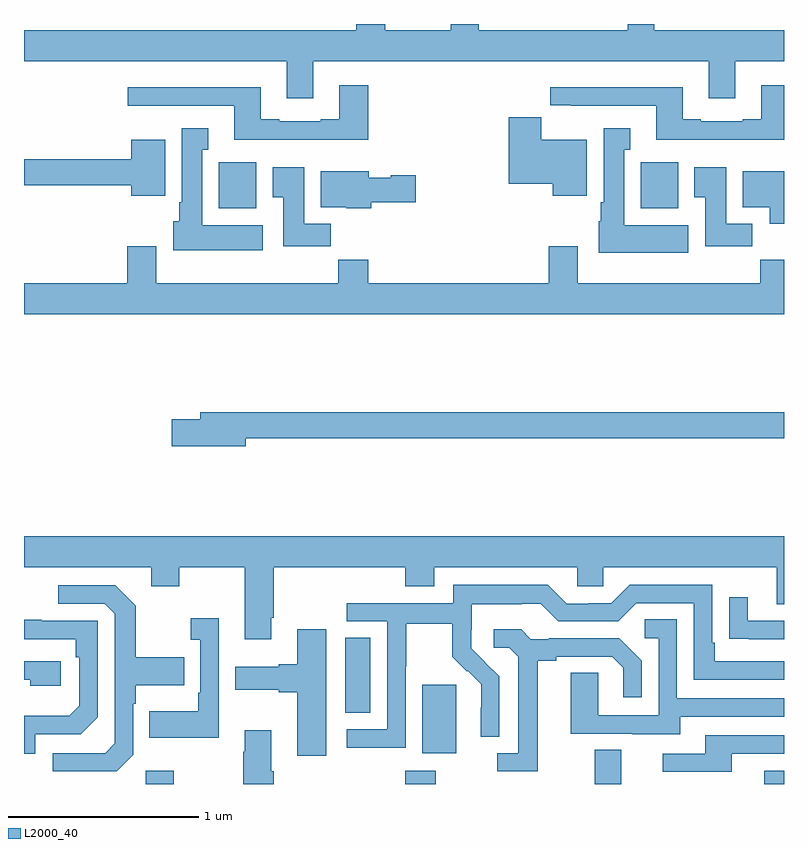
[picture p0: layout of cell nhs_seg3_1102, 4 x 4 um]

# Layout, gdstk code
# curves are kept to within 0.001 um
import gdstk
lib = gdstk.Library(unit=1e-6, precision=1e-09)
def R(c, l, rs):  # rectangles x0, y0, x1, y1
    for r in rs: c.add(gdstk.rectangle(r[:2], r[2:], *l))
def P(c, l, *ps):  # polygons
    for p in ps: c.add(gdstk.Polygon(p, *l))
L2000_40 = (2000, 40)

nhs_seg3_1102 = lib.new_cell('nhs_seg3_1102')
R(nhs_seg3_1102, L2000_40, [(167.64,742.4,167.787,742.471), (169.007,742.4,169.167,742.471), (170.003,742.4,170.143,742.58), (170.897,742.4,171,742.471), (169.097,742.562,169.276,742.923), (168.692,742.774,168.823,743.171), (168.026,745.43,168.223,745.672), (170.246,745.43,170.443,745.672)])
P(nhs_seg3_1102, L2000_40, [(168.523,746.204),(170.603,746.204),(170.603,746.01),(170.743,746.01),(170.743,746.204),(171,746.204),(171,746.368),(170.317,746.368),(170.317,746.4),(170.177,746.4),(170.177,746.368),(169.393,746.368),(169.393,746.4),(169.246,746.4),(169.246,746.368),(168.901,746.368),(168.901,746.4),(168.749,746.4),(168.749,746.368),(167,746.368),(167,746.204),(168.383,746.204),(168.383,746.01),(168.523,746.01)],
  [(171,746.077),(170.879,746.077),(170.879,745.9),(170.783,745.9),(170.783,745.887),(170.563,745.887),(170.563,745.9),(170.467,745.9),(170.467,746.068),(169.77,746.068),(169.77,745.973),(169.879,745.973),(169.879,745.971),(170.327,745.971),(170.327,745.79),(171,745.79)],
  [(168.812,746.077),(168.659,746.077),(168.659,745.9),(168.563,745.9),(168.563,745.887),(168.343,745.887),(168.343,745.9),(168.247,745.9),(168.247,746.068),(167.547,746.068),(167.547,745.971),(168.107,745.971),(168.107,745.79),(168.812,745.79)],
  [(169.963,745.792),(169.723,745.792),(169.723,745.908),(169.55,745.908),(169.55,745.559),(169.784,745.559),(169.784,745.496),(169.963,745.496)],
  [(170.497,745.342),(170.158,745.342),(170.158,745.739),(170.191,745.739),(170.191,745.852),(170.051,745.852),(170.051,745.462),(170.036,745.462),(170.036,745.362),(170.024,745.362),(170.024,745.196),(170.497,745.196)],
  [(168.256,745.342),(167.938,745.342),(167.938,745.739),(167.971,745.739),(167.971,745.852),(167.831,745.852),(167.831,745.462),(167.816,745.462),(167.816,745.362),(167.786,745.362),(167.786,745.208),(168.256,745.208)],
  [(167.743,745.792),(167.564,745.792),(167.564,745.688),(167,745.688),(167,745.552),(167.564,745.552),(167.564,745.496),(167.743,745.496)],
  [(170.834,745.348),(170.695,745.348),(170.695,745.645),(170.528,745.645),(170.528,745.489),(170.585,745.489),(170.585,745.23),(170.834,745.23)],
  [(168.614,745.348),(168.475,745.348),(168.475,745.645),(168.308,745.645),(168.308,745.489),(168.365,745.489),(168.365,745.23),(168.614,745.23)],
  [(171,745.624),(170.783,745.624),(170.783,745.436),(170.924,745.436),(170.924,745.349),(171,745.349)],
  [(168.827,745.462),(169.063,745.462),(169.063,745.604),(168.93,745.604),(168.93,745.591),(168.814,745.591),(168.814,745.624),(168.563,745.624),(168.563,745.436),(168.696,745.436),(168.696,745.43),(168.827,745.43)],
  [(171,745.16),(170.875,745.16),(170.875,745.036),(169.915,745.036),(169.915,745.231),(169.763,745.231),(169.763,745.036),(168.812,745.036),(168.812,745.16),(168.655,745.16),(168.655,745.036),(167.695,745.036),(167.695,745.231),(167.543,745.231),(167.543,745.036),(167,745.036),(167,744.872),(171,744.872)],
  [(168.166,744.22),(171,744.22),(171,744.356),(167.927,744.356),(167.927,744.32),(167.778,744.32),(167.778,744.178),(168.166,744.178)],
  [(168.301,743.275),(168.314,743.275),(168.314,743.54),(169.007,743.54),(169.007,743.441),(169.159,743.441),(169.159,743.54),(169.911,743.54),(169.911,743.442),(170.049,743.442),(170.049,743.54),(170.963,743.54),(170.963,743.346),(171,743.346),(171,743.704),(167,743.704),(167,743.54),(167.669,743.54),(167.669,743.441),(167.817,743.441),(167.817,743.54),(168.161,743.54),(168.161,743.163),(168.301,743.163)],
  [(169.008,743.02),(169.011,743.02),(169.011,743.244),(169.255,743.244),(169.255,743.069),(169.332,742.992),(169.335,742.995),(169.406,742.925),(169.406,742.802),(169.404,742.802),(169.404,742.648),(169.5,742.648),(169.5,742.966),(169.354,743.114),(169.354,743.211),(169.356,743.211),(169.356,743.345),(169.619,743.345),(169.619,743.349),(169.719,743.349),(169.812,743.256),(170.127,743.256),(170.223,743.352),(170.526,743.352),(170.526,742.95),(171,742.95),(171,743.046),(170.635,743.046),(170.635,743.143),(170.622,743.143),(170.622,743.448),(170.187,743.448),(170.091,743.352),(169.973,743.352),(169.973,743.349),(169.857,743.349),(169.757,743.449),(169.26,743.449),(169.26,743.352),(168.699,743.352),(168.699,743.256),(168.912,743.256),(168.912,742.689),(168.699,742.689),(168.699,742.591),(169.008,742.591)],
  [(167.574,742.554),(167.574,742.823),(167.587,742.823),(167.587,742.919),(167.843,742.919),(167.843,743.067),(167.587,743.067),(167.587,743.339),(167.481,743.445),(167.181,743.445),(167.181,743.349),(167.424,743.349),(167.478,743.295),(167.478,742.614),(167.427,742.563),(167.151,742.563),(167.151,742.467),(167.487,742.467)],
  [(171,743.259),(170.809,743.259),(170.809,743.383),(170.713,743.383),(170.713,743.164),(170.815,743.164),(170.815,743.163),(171,743.163)],
  [(168.024,743.272),(167.877,743.272),(167.877,743.159),(167.928,743.159),(167.928,742.879),(167.916,742.879),(167.916,742.783),(167.659,742.783),(167.659,742.643),(168.024,742.643)],
  [(170.455,742.755),(171,742.755),(171,742.851),(170.436,742.851),(170.436,743.267),(170.268,743.267),(170.268,743.166),(170.34,743.166),(170.34,742.761),(170.022,742.761),(170.022,742.985),(169.877,742.985),(169.877,742.665),(170.201,742.665),(170.201,742.661),(170.455,742.661)],
  [(167.058,742.662),(167.298,742.662),(167.388,742.752),(167.388,743.259),(167.093,743.259),(167.093,743.264),(167,743.264),(167,743.163),(167.272,743.163),(167.272,743.066),(167.292,743.066),(167.292,742.812),(167.239,742.759),(167,742.759),(167,742.56),(167.058,742.56)],
  [(168.592,743.215),(168.437,743.215),(168.437,743.03),(168.341,743.03),(168.341,743.017),(168.111,743.017),(168.111,742.895),(168.341,742.895),(168.341,742.883),(168.437,742.883),(168.437,742.548),(168.592,742.548)],
  [(169.705,743.048),(169.801,743.048),(169.801,743.07),(170.096,743.07),(170.153,743.013),(170.153,742.857),(170.25,742.857),(170.25,743.05),(170.134,743.166),(169.762,743.166),(169.762,743.163),(169.668,743.163),(169.616,743.215),(169.473,743.215),(169.473,743.118),(169.554,743.118),(169.601,743.071),(169.601,742.563),(169.491,742.563),(169.491,742.467),(169.705,742.467)],
  [(167.194,743.046),(167,743.046),(167,742.95),(167.033,742.95),(167.033,742.916),(167.194,742.916)],
  [(168.314,742.468),(168.301,742.468),(168.301,742.684),(168.161,742.684),(168.161,742.571),(168.154,742.571),(168.154,742.4),(168.314,742.4)],
  [(170.725,742.56),(171,742.56),(171,742.656),(170.585,742.656),(170.585,742.56),(170.361,742.56),(170.361,742.464),(170.725,742.464)])

lib.write_gds('nhs_seg3_1102.gds')
